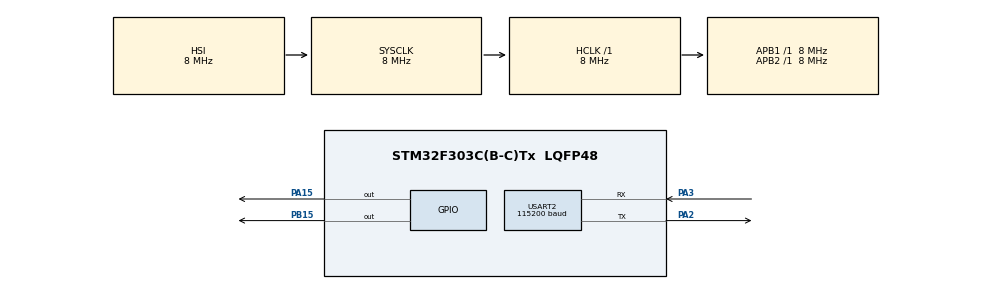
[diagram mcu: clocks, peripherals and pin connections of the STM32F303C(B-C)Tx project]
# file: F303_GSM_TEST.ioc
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Dma.Request0=USART2_RX
Dma.Request1=USART2_TX
Dma.USART2_RX.0.Direction=DMA_PERIPH_TO_MEMORY
Dma.USART2_RX.0.Instance=DMA1_Channel6
Dma.USART2_RX.0.MemDataAlignment=DMA_MDATAALIGN_BYTE
Dma.USART2_RX.0.MemInc=DMA_MINC_ENABLE
Dma.USART2_RX.0.Mode=DMA_NORMAL
Dma.USART2_RX.0.PeriphDataAlignment=DMA_PDATAALIGN_BYTE
Dma.USART2_RX.0.PeriphInc=DMA_PINC_DISABLE
Dma.USART2_RX.0.Priority=DMA_PRIORITY_LOW
Dma.USART2_TX.1.Direction=DMA_MEMORY_TO_PERIPH
Dma.USART2_TX.1.Instance=DMA1_Channel7
Dma.USART2_TX.1.MemDataAlignment=DMA_MDATAALIGN_BYTE
Dma.USART2_TX.1.MemInc=DMA_MINC_ENABLE
Dma.USART2_TX.1.Mode=DMA_NORMAL
Dma.USART2_TX.1.PeriphDataAlignment=DMA_PDATAALIGN_BYTE
Dma.USART2_TX.1.PeriphInc=DMA_PINC_DISABLE
Dma.USART2_TX.1.Priority=DMA_PRIORITY_LOW
Mcu.Family=STM32F3
Mcu.Name=STM32F303C(B-C)Tx
Mcu.Package=LQFP48
NVIC.DMA1_Channel6_IRQn=true\:0\:0\:false\:false\:true\:false\:true\:true
NVIC.DMA1_Channel7_IRQn=true\:0\:0\:false\:false\:true\:false\:true\:true
NVIC.PriorityGroup=NVIC_PRIORITYGROUP_4
NVIC.USART2_IRQn=true\:0\:0\:false\:false\:true\:true\:true\:true
PA13.Mode=Serial_Wire
PA13.Signal=SYS_JTMS-SWDIO
PA14.Mode=Serial_Wire
PA14.Signal=SYS_JTCK-SWCLK
PA15.Signal=GPIO_Output
PA2.Mode=Asynchronous
PA2.Signal=USART2_TX
PA3.Mode=Asynchronous
PA3.Signal=USART2_RX
PB15.Signal=GPIO_Output
PF0-OSC_IN.Mode=HSE-External-Oscillator
PF0-OSC_IN.Signal=RCC_OSC_IN
PF1-OSC_OUT.Mode=HSE-External-Oscillator
PF1-OSC_OUT.Signal=RCC_OSC_OUT
ProjectManager.HeapSize=0x200
ProjectManager.StackSize=0x400
ProjectManager.TargetToolchain=STM32CubeIDE
RCC.AHBFreq_Value=8000000
RCC.APB1Freq_Value=8000000
RCC.APB2Freq_Value=8000000
RCC.CortexFreq_Value=8000000
RCC.HSE_VALUE=8000000
RCC.HSI_VALUE=8000000
RCC.LSE_VALUE=32768
RCC.SYSCLKFreq_VALUE=8000000
USART2.BaudRate=115200
USART2.VirtualMode-Asynchronous=VM_ASYNC
board=custom

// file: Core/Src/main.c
/* USER CODE BEGIN Header */
/**
  ******************************************************************************
  * @file           : main.c
  * @brief          : Main program body
  ******************************************************************************
  * @attention
  *
  * Copyright (c) 2025 STMicroelectronics.
  * All rights reserved.
  *
  * This software is licensed under terms that can be found in the LICENSE file
  * in the root directory of this software component.
  * If no LICENSE file comes with this software, it is provided AS-IS.
  *
  ******************************************************************************
  */
/* USER CODE END Header */
#include "main.h"
#include "string.h"
#include "stdio.h"
#include "stdlib.h"

UART_HandleTypeDef huart2;
DMA_HandleTypeDef hdma_usart2_rx;
DMA_HandleTypeDef hdma_usart2_tx;

/* USER CODE BEGIN PV */
char AtCommand[80];
uint8_t Reply[80];

/* USER CODE END PV */

void SystemClock_Config(void);
static void MX_GPIO_Init(void);
static void MX_DMA_Init(void);
static void MX_USART2_UART_Init(void);
/* USER CODE BEGIN PFP */

int checkNetwork()
{
	//AT COMMAND TEST
	memset(AtCommand, 0, strlen(AtCommand));
	memset(Reply, 0, strlen((char*)Reply));
	sprintf(AtCommand, "AT\r\n");
	HAL_UART_Transmit(&huart2, (uint8_t *)AtCommand, strlen(AtCommand), 1000);
	HAL_UART_Receive(&huart2, Reply, 80, 1000);
	if(strstr((char *)Reply,"OK"))
	  {
		//ATisOK = 1;
		//HAL_UART_Transmit(&huart3,(uint8_t *)rx_buffer,strlen((char *)rx_buffer),1000);
		HAL_GPIO_WritePin(GPIOA, GPIO_PIN_15, 1);
		HAL_Delay(3000);

	  }
	else
		{
			return 0;
		}

	// SIMCARD PIN
	memset(AtCommand, 0, strlen(AtCommand));
	memset(Reply, 0, strlen((char*)Reply));
	sprintf(AtCommand, "AT+CPIN=?\r\n");
	HAL_UART_Transmit(&huart2, (uint8_t *)AtCommand, strlen(AtCommand), 1000);
	HAL_UART_Receive(&huart2, Reply, 80, 1000);
	if(strstr((char *)Reply,"OK"))
		  {
			//ATisOK = 1;
			//HAL_UART_Transmit(&huart3,(uint8_t *)rx_buffer,strlen((char *)rx_buffer),1000);
			//HAL_GPIO_WritePin(GPIOA, GPIO_PIN_15, 1);
			HAL_Delay(1000);

		  }
		else if(strstr((char *)Reply,"ERROR"))
			{
			HAL_GPIO_WritePin(GPIOA, GPIO_PIN_15, 0);
			HAL_Delay(1000);
				return 0;
			}

	//SIM CARD PIN
	memset(AtCommand, 0, strlen(AtCommand));
	memset(Reply, 0, strlen((char*)Reply));
	sprintf(AtCommand, "AT+CPIN?\r\n");
	HAL_UART_Transmit(&huart2, (uint8_t *)AtCommand, strlen(AtCommand), 1000);
	HAL_UART_Receive(&huart2, Reply, 80, 1000);

	memset(AtCommand, 0, strlen(AtCommand));
	memset(Reply, 0, strlen((char*)Reply));
	sprintf(AtCommand, "AT+CIMI=?\r\n");
	HAL_UART_Transmit(&huart2, (uint8_t *)AtCommand, strlen(AtCommand), 1000);
	HAL_UART_Receive(&huart2, Reply, 80, 1000);

	//International mobile subscriber
	memset(AtCommand, 0, strlen(AtCommand));
	memset(Reply, 0, strlen((char*)Reply));
	sprintf(AtCommand, "AT+CIMI\r\n");
	HAL_UART_Transmit(&huart2, (uint8_t *)AtCommand, strlen(AtCommand), 1000);
	HAL_UART_Receive(&huart2, Reply, 80, 1000);

	// Network registration
	memset(AtCommand, 0, strlen(AtCommand));
	memset(Reply, 0, strlen((char*)Reply));
	sprintf(AtCommand, "AT+CREG?\r\n");
	HAL_UART_Transmit(&huart2, (uint8_t *)AtCommand, strlen(AtCommand), 1000);
	HAL_UART_Receive(&huart2, Reply, 80, 1000);

	// signal quality
	memset(AtCommand, 0, strlen(AtCommand));
	memset(Reply, 0, strlen((char*)Reply));
	sprintf(AtCommand, "AT+CSQ\r\n");
	HAL_UART_Transmit(&huart2, (uint8_t *)AtCommand, strlen(AtCommand), 1000);
	HAL_UART_Receive(&huart2, Reply, 80, 1000);
	return 1;
}

int sendSMS()
{
	 memset(AtCommand, 0, sizeof(AtCommand));
	memset(Reply, 0, sizeof(Reply));

	// Set SMS text mode
	sprintf(AtCommand, "AT+CMGF=1\r\n");
	HAL_UART_Transmit(&huart2, (uint8_t *)AtCommand, strlen(AtCommand), 1000);
	HAL_UART_Receive(&huart2, Reply, sizeof(Reply), 1000);

	if (strstr((char *)Reply, "OK") == NULL) {
		return 0; // Error setting text mode
	}

	// Set recipient phone number
	memset(AtCommand, 0, sizeof(AtCommand));
	sprintf(AtCommand, "AT+CMGS=\"+254750558407\"\r\n");
	HAL_UART_Transmit(&huart2, (uint8_t *)AtCommand, strlen(AtCommand), 1000);
	HAL_UART_Receive(&huart2, Reply, sizeof(Reply), 1000);

	if (strstr((char *)Reply, "> ") == NULL) { // Check for prompt
		return 0; // Error setting phone number
	}

	// Send SMS message
	memset(AtCommand, 0, sizeof(AtCommand));
	sprintf(AtCommand, "Hello\r\n");
	HAL_UART_Transmit(&huart2, (uint8_t *)AtCommand, strlen(AtCommand), 1000);
	AtCommand[0] = 26; // Ctrl+Z
	AtCommand[1] = '\0';
	HAL_UART_Transmit(&huart2, (uint8_t *)"\x1A", 1, 1000);
	 memset(Reply, 0, sizeof(Reply));
	HAL_UART_Receive(&huart2, Reply, sizeof(Reply), 1000);

	return 1;
}

/* USER CODE END PFP */

int main(void)
{

  /* MCU Configuration--------------------------------------------------------*/

  /* Reset of all peripherals, Initializes the Flash interface and the Systick. */
  HAL_Init();

  /* Configure the system clock */
  SystemClock_Config();

  /* Initialize all configured peripherals */
  MX_GPIO_Init();
  MX_DMA_Init();
  MX_USART2_UART_Init();
  /* USER CODE BEGIN 2 */

  HAL_GPIO_WritePin(GPIOB, GPIO_PIN_15, 0);
  HAL_Delay(5000);
  HAL_GPIO_WritePin(GPIOB, GPIO_PIN_15, 1);
  HAL_Delay(5000);
  HAL_GPIO_WritePin(GPIOB, GPIO_PIN_15, 0);

  /* USER CODE END 2 */

  /* Infinite loop */
  /* USER CODE BEGIN WHILE */
  while (!checkNetwork())
  {
	  checkNetwork();
	  HAL_Delay(1000);
    /* USER CODE END WHILE */

    /* USER CODE BEGIN 3 */
  }
  sendSMS();
  /* USER CODE END 3 */
}

void SystemClock_Config(void)
{
  RCC_OscInitTypeDef RCC_OscInitStruct = {0};
  RCC_ClkInitTypeDef RCC_ClkInitStruct = {0};
  RCC_PeriphCLKInitTypeDef PeriphClkInit = {0};

  /** Initializes the RCC Oscillators according to the specified parameters
  * in the RCC_OscInitTypeDef structure.
  */
  RCC_OscInitStruct.OscillatorType = RCC_OSCILLATORTYPE_HSI;
  RCC_OscInitStruct.HSIState = RCC_HSI_ON;
  RCC_OscInitStruct.HSICalibrationValue = RCC_HSICALIBRATION_DEFAULT;
  RCC_OscInitStruct.PLL.PLLState = RCC_PLL_NONE;
  if (HAL_RCC_OscConfig(&RCC_OscInitStruct) != HAL_OK)
  {
    Error_Handler();
  }

  /** Initializes the CPU, AHB and APB buses clocks
  */
  RCC_ClkInitStruct.ClockType = RCC_CLOCKTYPE_HCLK|RCC_CLOCKTYPE_SYSCLK
                              |RCC_CLOCKTYPE_PCLK1|RCC_CLOCKTYPE_PCLK2;
  RCC_ClkInitStruct.SYSCLKSource = RCC_SYSCLKSOURCE_HSI;
  RCC_ClkInitStruct.AHBCLKDivider = RCC_SYSCLK_DIV1;
  RCC_ClkInitStruct.APB1CLKDivider = RCC_HCLK_DIV1;
  RCC_ClkInitStruct.APB2CLKDivider = RCC_HCLK_DIV1;

  if (HAL_RCC_ClockConfig(&RCC_ClkInitStruct, FLASH_LATENCY_0) != HAL_OK)
  {
    Error_Handler();
  }
  PeriphClkInit.PeriphClockSelection = RCC_PERIPHCLK_USART2;
  PeriphClkInit.Usart2ClockSelection = RCC_USART2CLKSOURCE_PCLK1;
  if (HAL_RCCEx_PeriphCLKConfig(&PeriphClkInit) != HAL_OK)
  {
    Error_Handler();
  }
}

static void MX_USART2_UART_Init(void)
{

  huart2.Instance = USART2;
  huart2.Init.BaudRate = 115200;
  huart2.Init.WordLength = UART_WORDLENGTH_8B;
  huart2.Init.StopBits = UART_STOPBITS_1;
  huart2.Init.Parity = UART_PARITY_NONE;
  huart2.Init.Mode = UART_MODE_TX_RX;
  huart2.Init.HwFlowCtl = UART_HWCONTROL_NONE;
  huart2.Init.OverSampling = UART_OVERSAMPLING_16;
  huart2.Init.OneBitSampling = UART_ONE_BIT_SAMPLE_DISABLE;
  huart2.AdvancedInit.AdvFeatureInit = UART_ADVFEATURE_NO_INIT;
  if (HAL_UART_Init(&huart2) != HAL_OK)
  {
    Error_Handler();
  }

}

static void MX_DMA_Init(void)
{

  /* DMA controller clock enable */
  __HAL_RCC_DMA1_CLK_ENABLE();

  /* DMA interrupt init */
  /* DMA1_Channel6_IRQn interrupt configuration */
  HAL_NVIC_SetPriority(DMA1_Channel6_IRQn, 0, 0);
  HAL_NVIC_EnableIRQ(DMA1_Channel6_IRQn);
  /* DMA1_Channel7_IRQn interrupt configuration */
  HAL_NVIC_SetPriority(DMA1_Channel7_IRQn, 0, 0);
  HAL_NVIC_EnableIRQ(DMA1_Channel7_IRQn);

}

static void MX_GPIO_Init(void)
{
  GPIO_InitTypeDef GPIO_InitStruct = {0};

  /* GPIO Ports Clock Enable */
  __HAL_RCC_GPIOF_CLK_ENABLE();
  __HAL_RCC_GPIOA_CLK_ENABLE();
  __HAL_RCC_GPIOB_CLK_ENABLE();

  /*Configure GPIO pin Output Level */
  HAL_GPIO_WritePin(GPIOB, GPIO_PIN_15, GPIO_PIN_RESET);

  /*Configure GPIO pin Output Level */
  HAL_GPIO_WritePin(GPIOA, GPIO_PIN_15, GPIO_PIN_RESET);

  /*Configure GPIO pin : PB15 */
  GPIO_InitStruct.Pin = GPIO_PIN_15;
  GPIO_InitStruct.Mode = GPIO_MODE_OUTPUT_PP;
  GPIO_InitStruct.Pull = GPIO_NOPULL;
  GPIO_InitStruct.Speed = GPIO_SPEED_FREQ_LOW;
  HAL_GPIO_Init(GPIOB, &GPIO_InitStruct);

  /*Configure GPIO pin : PA15 */
  GPIO_InitStruct.Pin = GPIO_PIN_15;
  GPIO_InitStruct.Mode = GPIO_MODE_OUTPUT_PP;
  GPIO_InitStruct.Pull = GPIO_NOPULL;
  GPIO_InitStruct.Speed = GPIO_SPEED_FREQ_LOW;
  HAL_GPIO_Init(GPIOA, &GPIO_InitStruct);

}

void Error_Handler(void)
{
  __disable_irq();
  while (1)
  {
  }
}
